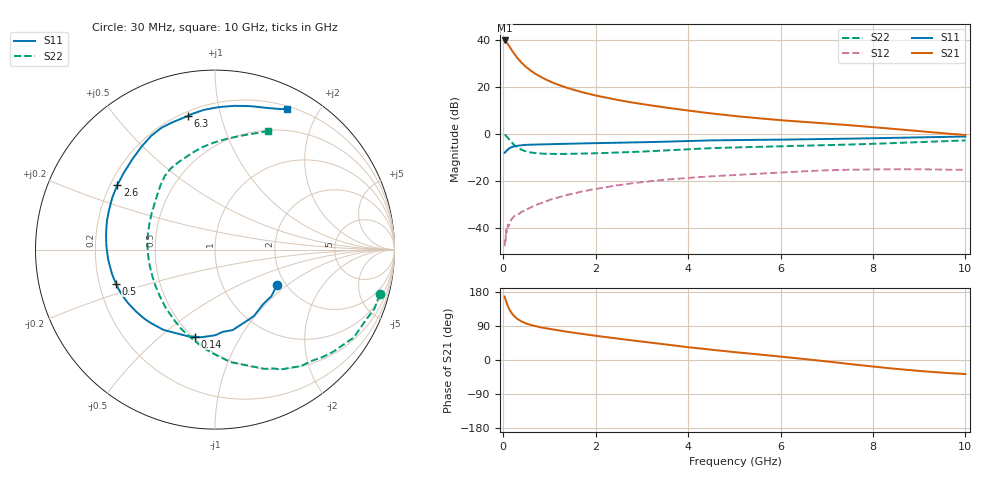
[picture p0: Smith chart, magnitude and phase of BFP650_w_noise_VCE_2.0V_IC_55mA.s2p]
! (c) 2016  Infineon Technologies AG, Munich
! Infineon Technologies  Discrete & RF Semiconductors
! BFP650
! VCE =  2.0 V,  IC =  55 mA
! Common Emitter S-Parameters:  Jan 2016
# GHz  S  MA  R  50
!  f  S11  S21  S12  S22
! GHz  MAG  ANG  MAG  ANG  MAG  ANG  MAG  ANG
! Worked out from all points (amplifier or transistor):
!   229 points, 30 MHz to 10 GHz, reference 50 ohm
!   highest |S21| = 39.9 dB at 30 MHz (marker M1)
!   |S21| within 3 dB of that: start of sweep to 147.6 MHz
!   unconditionally stable (mu >= 1): 1.744 GHz to end of sweep
!   at 280 MHz: K = 0.49, MSG = 33.9 dB, |S12| = -34.7 dB
!   at 1.78 GHz: K = 1.00, MAG = 20.5 dB, |S12| = -24.4 dB
!   at 10 GHz: K = 1.03, MAG = 6.3 dB, |S12| = -15.4 dB
!   lowest NFmin = 1.01 dB at 450 MHz
!   S11 on the Smith chart (normalised r, x): 30 MHz: 1.80, -0.84; 140 MHz: 0.51, -0.66; 500 MHz: 0.27, -0.16; 2.6 GHz: 0.23, +0.29; 6.3 GHz: 0.22, +0.79; 10 GHz: 0.23, +1.61
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0.03  0.398 -29.7  99.11 167.4  0.004 102.6  0.9503 -15.2
0.04  0.4074 -39.4  98.22 163.2  0.0053 90.2  0.9477 -20.3
0.05  0.4053 -48.4  95.44 159.1  0.0047 99.0  0.9273 -25.0
0.06  0.4283 -59.3  94.3 155.7  0.0088 47.5  0.9155 -32.3
0.08  0.445 -72.3  88.9 148.6  0.0097 65.9  0.8715 -40.6
0.11  0.4774 -89.9  80.51 139.5  0.0114 67.1  0.8067 -53.6
0.14  0.4977 -103.2  72.16 132.1  0.0129 55.9  0.7366 -63.9
0.2  0.5316 -122.7  58.29 120.7  0.016 57.4  0.6325 -82.2
0.26  0.5504 -135.4  48.05 113.0  0.0181 53.2  0.5555 -95.8
0.36  0.5696 -149.1  36.28 104.2  0.0202 52.4  0.4784 -113.4
0.5  0.5832 -161.0  26.65 96.2  0.0241 53.0  0.4226 -131.0
0.7  0.5932 -171.3  19.09 89.1  0.0299 54.7  0.3894 -148.0
0.9  0.6009 -178.5  14.83 84.1  0.0352 55.4  0.3769 -160.1
1.22  0.6117 172.8  10.94 77.5  0.0447 54.7  0.3736 -173.7
1.7  0.626 162.4  7.822 69.0  0.0589 52.5  0.3803 171.7
2.6  0.6524 146.4  5.041 54.6  0.0833 44.5  0.404 151.9
3.4  0.6775 134.0  3.795 42.7  0.1027 36.0  0.4376 138.2
5.1  0.7422 112.7  2.363 19.7  0.1342 19.1  0.5174 117.3
6.3  0.7606 101.4  1.869 5.3  0.1557 7.7  0.5524 103.4
6.8  0.7742 96.6  1.724 -1.1  0.1637 2.3  0.5683 98.7
8.4  0.8202 77.2  1.292 -22.3  0.1754 -15.4  0.6348 80.5
10  0.8793 62.8  0.948 -37.0  0.1708 -28.0  0.7257 65.9
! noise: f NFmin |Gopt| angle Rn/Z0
0.45  1.01  0.41  -172  0.07
0.9  1.03  0.43  -166  0.06
1.9  1.18  0.47  -153  0.07
2.4  1.26  0.45  -143  0.09
3.5  1.48  0.47  -120  0.14
